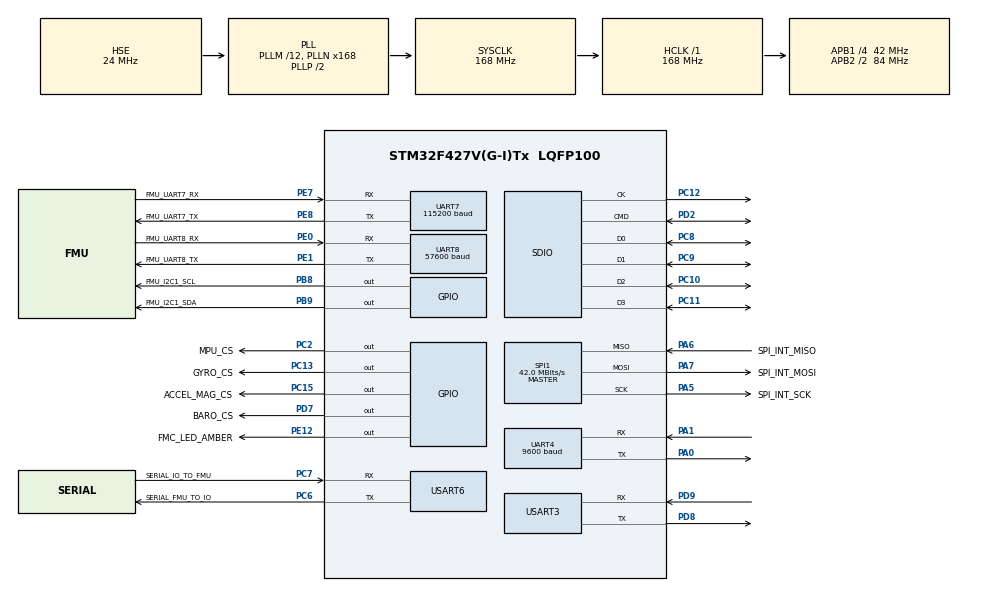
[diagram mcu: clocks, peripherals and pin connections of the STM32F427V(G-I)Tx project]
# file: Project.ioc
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Dma.Request0=UART4_RX
Dma.Request1=UART8_RX
Dma.Request2=UART7_RX
Dma.Request3=USART6_TX
Dma.Request4=USART6_RX
Dma.Request5=SDIO_RX
Dma.Request6=SDIO_TX
Dma.Request7=USART3_RX
Dma.SDIO_RX.5.Direction=DMA_PERIPH_TO_MEMORY
Dma.SDIO_RX.5.FIFOMode=DMA_FIFOMODE_ENABLE
Dma.SDIO_RX.5.FIFOThreshold=DMA_FIFO_THRESHOLD_FULL
Dma.SDIO_RX.5.Instance=DMA2_Stream6
Dma.SDIO_RX.5.MemBurst=DMA_MBURST_INC4
Dma.SDIO_RX.5.MemDataAlignment=DMA_MDATAALIGN_WORD
Dma.SDIO_RX.5.MemInc=DMA_MINC_ENABLE
Dma.SDIO_RX.5.Mode=DMA_PFCTRL
Dma.SDIO_RX.5.PeriphBurst=DMA_PBURST_INC4
Dma.SDIO_RX.5.PeriphDataAlignment=DMA_PDATAALIGN_WORD
Dma.SDIO_RX.5.PeriphInc=DMA_PINC_DISABLE
Dma.SDIO_RX.5.Priority=DMA_PRIORITY_LOW
Dma.SDIO_TX.6.Direction=DMA_MEMORY_TO_PERIPH
Dma.SDIO_TX.6.FIFOMode=DMA_FIFOMODE_ENABLE
Dma.SDIO_TX.6.FIFOThreshold=DMA_FIFO_THRESHOLD_FULL
Dma.SDIO_TX.6.Instance=DMA2_Stream3
Dma.SDIO_TX.6.MemBurst=DMA_MBURST_INC4
Dma.SDIO_TX.6.MemDataAlignment=DMA_MDATAALIGN_WORD
Dma.SDIO_TX.6.MemInc=DMA_MINC_ENABLE
Dma.SDIO_TX.6.Mode=DMA_PFCTRL
Dma.SDIO_TX.6.PeriphBurst=DMA_PBURST_INC4
Dma.SDIO_TX.6.PeriphDataAlignment=DMA_PDATAALIGN_WORD
Dma.SDIO_TX.6.PeriphInc=DMA_PINC_DISABLE
Dma.SDIO_TX.6.Priority=DMA_PRIORITY_LOW
Dma.UART4_RX.0.Direction=DMA_PERIPH_TO_MEMORY
Dma.UART4_RX.0.FIFOMode=DMA_FIFOMODE_DISABLE
Dma.UART4_RX.0.Instance=DMA1_Stream2
Dma.UART4_RX.0.MemDataAlignment=DMA_MDATAALIGN_BYTE
Dma.UART4_RX.0.MemInc=DMA_MINC_ENABLE
Dma.UART4_RX.0.Mode=DMA_CIRCULAR
Dma.UART4_RX.0.PeriphDataAlignment=DMA_PDATAALIGN_BYTE
Dma.UART4_RX.0.PeriphInc=DMA_PINC_DISABLE
Dma.UART4_RX.0.Priority=DMA_PRIORITY_MEDIUM
Dma.UART7_RX.2.Direction=DMA_PERIPH_TO_MEMORY
Dma.UART7_RX.2.FIFOMode=DMA_FIFOMODE_DISABLE
Dma.UART7_RX.2.Instance=DMA1_Stream3
Dma.UART7_RX.2.MemDataAlignment=DMA_MDATAALIGN_BYTE
Dma.UART7_RX.2.MemInc=DMA_MINC_ENABLE
Dma.UART7_RX.2.Mode=DMA_CIRCULAR
Dma.UART7_RX.2.PeriphDataAlignment=DMA_PDATAALIGN_BYTE
Dma.UART7_RX.2.PeriphInc=DMA_PINC_DISABLE
Dma.UART7_RX.2.Priority=DMA_PRIORITY_LOW
Dma.UART8_RX.1.Direction=DMA_PERIPH_TO_MEMORY
Dma.UART8_RX.1.FIFOMode=DMA_FIFOMODE_DISABLE
Dma.UART8_RX.1.Instance=DMA1_Stream6
Dma.UART8_RX.1.MemDataAlignment=DMA_MDATAALIGN_BYTE
Dma.UART8_RX.1.MemInc=DMA_MINC_ENABLE
Dma.UART8_RX.1.Mode=DMA_CIRCULAR
Dma.UART8_RX.1.PeriphDataAlignment=DMA_PDATAALIGN_BYTE
Dma.UART8_RX.1.PeriphInc=DMA_PINC_DISABLE
Dma.UART8_RX.1.Priority=DMA_PRIORITY_LOW
Dma.USART3_RX.7.Direction=DMA_PERIPH_TO_MEMORY
Dma.USART3_RX.7.FIFOMode=DMA_FIFOMODE_DISABLE
Dma.USART3_RX.7.Instance=DMA1_Stream1
Dma.USART3_RX.7.MemDataAlignment=DMA_MDATAALIGN_BYTE
Dma.USART3_RX.7.MemInc=DMA_MINC_ENABLE
Dma.USART3_RX.7.Mode=DMA_CIRCULAR
Dma.USART3_RX.7.PeriphDataAlignment=DMA_PDATAALIGN_BYTE
Dma.USART3_RX.7.PeriphInc=DMA_PINC_DISABLE
Dma.USART3_RX.7.Priority=DMA_PRIORITY_LOW
Dma.USART6_RX.4.Direction=DMA_PERIPH_TO_MEMORY
Dma.USART6_RX.4.FIFOMode=DMA_FIFOMODE_DISABLE
Dma.USART6_RX.4.Instance=DMA2_Stream1
Dma.USART6_RX.4.MemDataAlignment=DMA_MDATAALIGN_BYTE
Dma.USART6_RX.4.MemInc=DMA_MINC_ENABLE
Dma.USART6_RX.4.Mode=DMA_CIRCULAR
Dma.USART6_RX.4.PeriphDataAlignment=DMA_PDATAALIGN_BYTE
Dma.USART6_RX.4.PeriphInc=DMA_PINC_DISABLE
Dma.USART6_RX.4.Priority=DMA_PRIORITY_VERY_HIGH
Dma.USART6_TX.3.Direction=DMA_MEMORY_TO_PERIPH
Dma.USART6_TX.3.FIFOMode=DMA_FIFOMODE_DISABLE
Dma.USART6_TX.3.Instance=DMA2_Stream7
Dma.USART6_TX.3.MemDataAlignment=DMA_MDATAALIGN_BYTE
Dma.USART6_TX.3.MemInc=DMA_MINC_ENABLE
Dma.USART6_TX.3.Mode=DMA_NORMAL
Dma.USART6_TX.3.PeriphDataAlignment=DMA_PDATAALIGN_BYTE
Dma.USART6_TX.3.PeriphInc=DMA_PINC_DISABLE
Dma.USART6_TX.3.Priority=DMA_PRIORITY_VERY_HIGH
FATFS._CODE_PAGE=850
Mcu.Family=STM32F4
Mcu.Name=STM32F427V(G-I)Tx
Mcu.Package=LQFP100
NVIC.DMA1_Stream1_IRQn=true\:0\:0\:false\:true\:true\:1\:false\:true
NVIC.DMA1_Stream2_IRQn=true\:0\:0\:false\:true\:true\:2\:false\:true
NVIC.DMA1_Stream3_IRQn=true\:0\:0\:false\:true\:true\:3\:false\:true
NVIC.DMA1_Stream6_IRQn=true\:0\:0\:false\:true\:true\:4\:false\:true
NVIC.DMA2_Stream1_IRQn=true\:0\:0\:false\:true\:true\:9\:false\:true
NVIC.DMA2_Stream3_IRQn=true\:2\:0\:true\:true\:true\:10\:false\:true
NVIC.DMA2_Stream6_IRQn=true\:2\:1\:true\:true\:true\:11\:false\:true
NVIC.DMA2_Stream7_IRQn=true\:0\:0\:false\:true\:true\:12\:false\:true
NVIC.FPU_IRQn=true\:0\:0\:false\:true\:true\:14\:true\:false
NVIC.PriorityGroup=NVIC_PRIORITYGROUP_2
NVIC.SDIO_IRQn=true\:2\:3\:true\:true\:true\:6\:true\:true
NVIC.TIM6_DAC_IRQn=true\:2\:1\:true\:true\:true\:8\:true\:true
NVIC.UART4_IRQn=true\:2\:3\:true\:true\:true\:7\:true\:true
NVIC.UART7_IRQn=true\:3\:3\:true\:true\:true\:15\:true\:true
NVIC.UART8_IRQn=true\:1\:2\:true\:true\:true\:16\:true\:true
NVIC.USART3_IRQn=true\:1\:1\:true\:true\:true\:5\:true\:true
NVIC.USART6_IRQn=true\:0\:0\:false\:true\:true\:13\:true\:true
PA0/WKUP.GPIO_Mode=GPIO_MODE_AF_PP
PA0/WKUP.GPIO_PuPd=GPIO_PULLUP
PA0/WKUP.GPIO_Speed=GPIO_SPEED_FREQ_VERY_HIGH
PA0/WKUP.Mode=Asynchronous
PA0/WKUP.Signal=UART4_TX
PA1.GPIO_Mode=GPIO_MODE_AF_PP
PA1.GPIO_PuPd=GPIO_PULLUP
PA1.GPIO_Speed=GPIO_SPEED_FREQ_VERY_HIGH
PA1.Mode=Asynchronous
PA1.Signal=UART4_RX
PA13.Mode=Trace_Asynchronous_SW
PA13.Signal=SYS_JTMS-SWDIO
PA14.Mode=Trace_Asynchronous_SW
PA14.Signal=SYS_JTCK-SWCLK
PA5.GPIO_Label=SPI_INT_SCK
PA5.GPIO_Mode=GPIO_MODE_AF_PP
PA5.GPIO_PuPd=GPIO_NOPULL
PA5.GPIO_Speed=GPIO_SPEED_FREQ_VERY_HIGH
PA5.Mode=Full_Duplex_Master
PA5.Signal=SPI1_SCK
PA6.GPIO_Label=SPI_INT_MISO
PA6.GPIO_Mode=GPIO_MODE_AF_PP
PA6.GPIO_PuPd=GPIO_NOPULL
PA6.GPIO_Speed=GPIO_SPEED_FREQ_VERY_HIGH
PA6.Mode=Full_Duplex_Master
PA6.Signal=SPI1_MISO
PA7.GPIO_Label=SPI_INT_MOSI
PA7.GPIO_Mode=GPIO_MODE_AF_PP
PA7.GPIO_PuPd=GPIO_NOPULL
PA7.GPIO_Speed=GPIO_SPEED_FREQ_VERY_HIGH
PA7.Mode=Full_Duplex_Master
PA7.Signal=SPI1_MOSI
PB3.Mode=Trace_Asynchronous_SW
PB3.Signal=SYS_JTDO-SWO
PB8.GPIO_Label=FMU_I2C1_SCL
PB8.GPIO_ModeDefaultOutputPP=GPIO_MODE_OUTPUT_PP
PB8.GPIO_PuPd=GPIO_NOPULL
PB8.GPIO_Speed=GPIO_SPEED_FREQ_LOW
PB8.PinState=GPIO_PIN_SET
PB8.Signal=GPIO_Output
PB9.GPIO_Label=FMU_I2C1_SDA
PB9.GPIO_ModeDefaultOutputPP=GPIO_MODE_OUTPUT_PP
PB9.GPIO_PuPd=GPIO_NOPULL
PB9.GPIO_Speed=GPIO_SPEED_FREQ_LOW
PB9.PinState=GPIO_PIN_SET
PB9.Signal=GPIO_Output
PC10.Mode=SD_4_bits_Wide_bus
PC10.Signal=SDIO_D2
PC11.Mode=SD_4_bits_Wide_bus
PC11.Signal=SDIO_D3
PC12.Mode=SD_4_bits_Wide_bus
PC12.Signal=SDIO_CK
PC13.GPIO_Label=GYRO_CS
PC13.GPIO_ModeDefaultOutputPP=GPIO_MODE_OUTPUT_PP
PC13.GPIO_PuPd=GPIO_NOPULL
PC13.GPIO_Speed=GPIO_SPEED_FREQ_LOW
PC13.PinState=GPIO_PIN_SET
PC13.Signal=GPIO_Output
PC15/OSC32_OUT.GPIO_Label=ACCEL_MAG_CS
PC15/OSC32_OUT.GPIO_ModeDefaultOutputPP=GPIO_MODE_OUTPUT_PP
PC15/OSC32_OUT.GPIO_PuPd=GPIO_NOPULL
PC15/OSC32_OUT.GPIO_Speed=GPIO_SPEED_FREQ_LOW
PC15/OSC32_OUT.PinState=GPIO_PIN_SET
PC15/OSC32_OUT.Signal=GPIO_Output
PC2.GPIO_Label=MPU_CS
PC2.GPIO_ModeDefaultOutputPP=GPIO_MODE_OUTPUT_PP
PC2.GPIO_PuPd=GPIO_NOPULL
PC2.GPIO_Speed=GPIO_SPEED_FREQ_LOW
PC2.PinState=GPIO_PIN_SET
PC2.Signal=GPIO_Output
PC6.GPIO_Label=SERIAL_FMU_TO_IO
PC6.Mode=Asynchronous
PC6.Signal=USART6_TX
PC7.GPIO_Label=SERIAL_IO_TO_FMU
PC7.Mode=Asynchronous
PC7.Signal=USART6_RX
PC8.Mode=SD_4_bits_Wide_bus
PC8.Signal=SDIO_D0
PC9.Mode=SD_4_bits_Wide_bus
PC9.Signal=SDIO_D1
PD2.Mode=SD_4_bits_Wide_bus
PD2.Signal=SDIO_CMD
PD7.GPIO_Label=BARO_CS
PD7.GPIO_ModeDefaultOutputPP=GPIO_MODE_OUTPUT_PP
PD7.GPIO_PuPd=GPIO_NOPULL
PD7.GPIO_Speed=GPIO_SPEED_FREQ_LOW
PD7.PinState=GPIO_PIN_SET
PD7.Signal=GPIO_Output
PD8.Mode=Asynchronous
PD8.Signal=USART3_TX
PD9.Mode=Asynchronous
PD9.Signal=USART3_RX
PE0.GPIO_Label=FMU_UART8_RX
PE0.GPIO_Mode=GPIO_MODE_AF_PP
PE0.GPIO_PuPd=GPIO_PULLUP
PE0.GPIO_Speed=GPIO_SPEED_FREQ_VERY_HIGH
PE0.Mode=Asynchronous
PE0.Signal=UART8_RX
PE1.GPIO_Label=FMU_UART8_TX
PE1.GPIO_Mode=GPIO_MODE_AF_PP
PE1.GPIO_PuPd=GPIO_PULLUP
PE1.GPIO_Speed=GPIO_SPEED_FREQ_VERY_HIGH
PE1.Mode=Asynchronous
PE1.Signal=UART8_TX
PE12.GPIO_Label=FMC_LED_AMBER
PE12.GPIO_ModeDefaultOutputPP=GPIO_MODE_OUTPUT_PP
PE12.GPIO_PuPd=GPIO_NOPULL
PE12.GPIO_Speed=GPIO_SPEED_FREQ_LOW
PE12.PinState=GPIO_PIN_SET
PE12.Signal=GPIO_Output
PE7.GPIO_Label=FMU_UART7_RX
PE7.GPIO_Mode=GPIO_MODE_AF_PP
PE7.GPIO_PuPd=GPIO_PULLUP
PE7.GPIO_Speed=GPIO_SPEED_FREQ_VERY_HIGH
PE7.Mode=Asynchronous
PE7.Signal=UART7_RX
PE8.GPIO_Label=FMU_UART7_TX
PE8.GPIO_Mode=GPIO_MODE_AF_PP
PE8.GPIO_PuPd=GPIO_PULLUP
PE8.GPIO_Speed=GPIO_SPEED_FREQ_VERY_HIGH
PE8.Mode=Asynchronous
PE8.Signal=UART7_TX
PH0/OSC_IN.Mode=HSE-External-Oscillator
PH0/OSC_IN.Signal=RCC_OSC_IN
PH1/OSC_OUT.Mode=HSE-External-Oscillator
PH1/OSC_OUT.Signal=RCC_OSC_OUT
ProjectManager.HeapSize=0x200
ProjectManager.StackSize=0x400
ProjectManager.TargetToolchain=MDK-ARM V5
RCC.48MHZClocksFreq_Value=48000000
RCC.AHBFreq_Value=168000000
RCC.APB1CLKDivider=RCC_HCLK_DIV4
RCC.APB1Freq_Value=42000000
RCC.APB1TimFreq_Value=84000000
RCC.APB2CLKDivider=RCC_HCLK_DIV2
RCC.APB2Freq_Value=84000000
RCC.APB2TimFreq_Value=168000000
RCC.CortexFreq_Value=168000000
RCC.HCLKFreq_Value=168000000
RCC.HSE_VALUE=24000000
RCC.HSI_VALUE=16000000
RCC.LSE_VALUE=32768
RCC.PLLM=12
RCC.PLLN=168
RCC.PLLQ=7
RCC.PLLSourceVirtual=RCC_PLLSOURCE_HSE
RCC.SYSCLKFreq_VALUE=168000000
RCC.SYSCLKSource=RCC_SYSCLKSOURCE_PLLCLK
RCC.VCOOutputFreq_Value=336000000
SPI1.CLKPhase=SPI_PHASE_2EDGE
SPI1.CLKPolarity=SPI_POLARITY_HIGH
SPI1.CalculateBaudRate=42.0 MBits/s
SPI1.Direction=SPI_DIRECTION_2LINES
SPI1.Mode=SPI_MODE_MASTER
SPI1.VirtualType=VM_MASTER
TIM6.Period=1999
TIM6.Prescaler=83
UART4.BaudRate=9600
UART4.VirtualMode=Asynchronous
UART7.BaudRate=115200
UART7.VirtualMode=Asynchronous
UART8.BaudRate=57600
UART8.VirtualMode=Asynchronous
USART3.VirtualMode=VM_ASYNC
USART6.VirtualMode=VM_ASYNC
VP_FATFS_VS_SDIO.Mode=SDIO
VP_TIM6_VS_ClockSourceINT.Mode=Enable_Timer
board=Project

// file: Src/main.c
/* USER CODE BEGIN Header */
/**
  ******************************************************************************
  * @file           : main.c
  * @brief          : Main program body
  ******************************************************************************
  * @attention
  *
  * <h2><center>&copy; Copyright (c) 2019 STMicroelectronics.
  * All rights reserved.</center></h2>
  *
  * This software component is licensed by ST under BSD 3-Clause license,
  * the "License"; You may not use this file except in compliance with the
  * License. You may obtain a copy of the License at:
  *                        opensource.org/licenses/BSD-3-Clause
  *
  ******************************************************************************
  */
/* USER CODE END Header */

#include "main.h"
#include "dma.h"
#include "fatfs.h"
#include "sdio.h"
#include "spi.h"
#include "tim.h"
#include "usart.h"
#include "gpio.h"

/* USER CODE BEGIN Includes */
#include "md_include.h"
#include "mavlink.h"
#include "sdlog.h"
#include "example.h"
#include "JY901.h"
#include "sensor.h"
#include "control.h"
/* USER CODE END Includes */

/* USER CODE BEGIN PV */
/* Private variables ---------------------------------------------------------*/
__IO ITStatus Timer6UpdateReady = RESET;
__IO uint32_t Timer6_50HzCount = 0;
__IO ITStatus Timer6_50HzUpdateReady = RESET;

/* USER CODE END PV */

void SystemClock_Config(void);
static void MX_NVIC_Init(void);
/* USER CODE BEGIN PFP */
/* Private function prototypes -----------------------------------------------*/

/* USER CODE END PFP */

/* USER CODE BEGIN 0 */
/*修改处：因为编译选项中加入--gnu，而编译环境是CC_ARM，所以必须保证优先是CC_ARM选型编译*/
#if defined ( __CC_ARM )
#define PUTCHAR_PROTOTYPE int fputc(int ch, FILE *f)
#elif defined (__GNUC__)
#define PUTCHAR_PROTOTYPE int __io_putchar(int ch)
#else
#define PUTCHAR_PROTOTYPE int fputc(int ch, FILE *f)
#endif

/* USER CODE END 0 */

int main(void)
{

  /* MCU Configuration--------------------------------------------------------*/

  /* Reset of all peripherals, Initializes the Flash interface and the Systick. */
  HAL_Init();

  /* Configure the system clock */
  SystemClock_Config();

  /* Initialize all configured peripherals */
  MX_GPIO_Init();
  MX_UART7_Init();
  MX_SPI1_Init();
  MX_TIM6_Init();
  MX_UART4_Init();
  MX_DMA_Init();
  MX_UART8_Init();
  MX_USART6_UART_Init();
  MX_SDIO_SD_Init();
  MX_FATFS_Init();
  MX_USART3_UART_Init();

  /* Initialize interrupts */
  MX_NVIC_Init();
  /* USER CODE BEGIN 2 */
	HAL_Delay(2000);
	GPS_Init();
//	MPU6000_Init();
//	Baro_Init();
	HMC5883_Init();
	Mavlink_Init();
	HAL_TIM_Base_Start_IT(&htim6);
	Com_TwoBoard_Init();
	JY901_Init();
	turn_pid_init();
	HAL_Delay(100);

//	Get_Gyro_Offset();
  /* USER CODE END 2 */

  /* Infinite loop */
  /* USER CODE BEGIN WHILE */
  while (1)
  {
		//定时器中断500HZ执行一次
		if(Timer6UpdateReady==SET)
		{
			Timer6UpdateReady=RESET;
			Loop_Led_Flick();
			mavlink_test();
			JY901_Receive();
			Loop_Read_Mag();
			heading_control();
		}

			Loop_Mavlink_Parse();
			Example_Exchage_COM();
		  Loop_GPS_Parse();				//GPS循环函数

    /* USER CODE END WHILE */

  }
}

void SystemClock_Config(void)
{
  RCC_OscInitTypeDef RCC_OscInitStruct = {0};
  RCC_ClkInitTypeDef RCC_ClkInitStruct = {0};

  /** Configure the main internal regulator output voltage
  */
  __HAL_RCC_PWR_CLK_ENABLE();
  __HAL_PWR_VOLTAGESCALING_CONFIG(PWR_REGULATOR_VOLTAGE_SCALE1);
  /** Initializes the CPU, AHB and APB busses clocks
  */
  RCC_OscInitStruct.OscillatorType = RCC_OSCILLATORTYPE_HSE;
  RCC_OscInitStruct.HSEState = RCC_HSE_ON;
  RCC_OscInitStruct.PLL.PLLState = RCC_PLL_ON;
  RCC_OscInitStruct.PLL.PLLSource = RCC_PLLSOURCE_HSE;
  RCC_OscInitStruct.PLL.PLLM = 12;
  RCC_OscInitStruct.PLL.PLLN = 168;
  RCC_OscInitStruct.PLL.PLLP = RCC_PLLP_DIV2;
  RCC_OscInitStruct.PLL.PLLQ = 7;
  if (HAL_RCC_OscConfig(&RCC_OscInitStruct) != HAL_OK)
  {
    Error_Handler();
  }
  /** Initializes the CPU, AHB and APB busses clocks
  */
  RCC_ClkInitStruct.ClockType = RCC_CLOCKTYPE_HCLK|RCC_CLOCKTYPE_SYSCLK
                              |RCC_CLOCKTYPE_PCLK1|RCC_CLOCKTYPE_PCLK2;
  RCC_ClkInitStruct.SYSCLKSource = RCC_SYSCLKSOURCE_PLLCLK;
  RCC_ClkInitStruct.AHBCLKDivider = RCC_SYSCLK_DIV1;
  RCC_ClkInitStruct.APB1CLKDivider = RCC_HCLK_DIV4;
  RCC_ClkInitStruct.APB2CLKDivider = RCC_HCLK_DIV2;

  if (HAL_RCC_ClockConfig(&RCC_ClkInitStruct, FLASH_LATENCY_5) != HAL_OK)
  {
    Error_Handler();
  }
}

/**
  * @brief NVIC Configuration.
  * @retval None
  */
static void MX_NVIC_Init(void)
{
  /* DMA1_Stream1_IRQn interrupt configuration */
  HAL_NVIC_SetPriority(DMA1_Stream1_IRQn, 0, 0);
  HAL_NVIC_EnableIRQ(DMA1_Stream1_IRQn);
  /* DMA1_Stream2_IRQn interrupt configuration */
  HAL_NVIC_SetPriority(DMA1_Stream2_IRQn, 0, 0);
  HAL_NVIC_EnableIRQ(DMA1_Stream2_IRQn);
  /* DMA1_Stream3_IRQn interrupt configuration */
  HAL_NVIC_SetPriority(DMA1_Stream3_IRQn, 0, 0);
  HAL_NVIC_EnableIRQ(DMA1_Stream3_IRQn);
  /* DMA1_Stream6_IRQn interrupt configuration */
  HAL_NVIC_SetPriority(DMA1_Stream6_IRQn, 0, 0);
  HAL_NVIC_EnableIRQ(DMA1_Stream6_IRQn);
  /* USART3_IRQn interrupt configuration */
  HAL_NVIC_SetPriority(USART3_IRQn, 1, 1);
  HAL_NVIC_EnableIRQ(USART3_IRQn);
  /* SDIO_IRQn interrupt configuration */
  HAL_NVIC_SetPriority(SDIO_IRQn, 2, 3);
  HAL_NVIC_EnableIRQ(SDIO_IRQn);
  /* UART4_IRQn interrupt configuration */
  HAL_NVIC_SetPriority(UART4_IRQn, 2, 3);
  HAL_NVIC_EnableIRQ(UART4_IRQn);
  /* TIM6_DAC_IRQn interrupt configuration */
  HAL_NVIC_SetPriority(TIM6_DAC_IRQn, 2, 1);
  HAL_NVIC_EnableIRQ(TIM6_DAC_IRQn);
  /* DMA2_Stream1_IRQn interrupt configuration */
  HAL_NVIC_SetPriority(DMA2_Stream1_IRQn, 0, 0);
  HAL_NVIC_EnableIRQ(DMA2_Stream1_IRQn);
  /* DMA2_Stream3_IRQn interrupt configuration */
  HAL_NVIC_SetPriority(DMA2_Stream3_IRQn, 2, 0);
  HAL_NVIC_EnableIRQ(DMA2_Stream3_IRQn);
  /* DMA2_Stream6_IRQn interrupt configuration */
  HAL_NVIC_SetPriority(DMA2_Stream6_IRQn, 2, 1);
  HAL_NVIC_EnableIRQ(DMA2_Stream6_IRQn);
  /* DMA2_Stream7_IRQn interrupt configuration */
  HAL_NVIC_SetPriority(DMA2_Stream7_IRQn, 0, 0);
  HAL_NVIC_EnableIRQ(DMA2_Stream7_IRQn);
  /* USART6_IRQn interrupt configuration */
  HAL_NVIC_SetPriority(USART6_IRQn, 0, 0);
  HAL_NVIC_EnableIRQ(USART6_IRQn);
  /* FPU_IRQn interrupt configuration */
  HAL_NVIC_SetPriority(FPU_IRQn, 0, 0);
  HAL_NVIC_EnableIRQ(FPU_IRQn);
  /* UART7_IRQn interrupt configuration */
  HAL_NVIC_SetPriority(UART7_IRQn, 3, 3);
  HAL_NVIC_EnableIRQ(UART7_IRQn);
  /* UART8_IRQn interrupt configuration */
  HAL_NVIC_SetPriority(UART8_IRQn, 1, 2);
  HAL_NVIC_EnableIRQ(UART8_IRQn);
}

/* USER CODE BEGIN 4 */
PUTCHAR_PROTOTYPE
{
	/* Place your implementation of fputc here ??*/
	/* e.g. write a character to the EVAL_COM1 and Loop until the end of transmission */
	HAL_UART_Transmit(&huart7, (uint8_t *)&ch, 1, 0xFFFF);
	return ch;
}

/**************************函数声明*******************************
*函数名称：HAL_TIM_PeriodElapsedCallback(TIM_HandleTypeDef *htim)
*输入参数：
*返回参数：
*功    能：定时器中断回调函数
*作    者：
*日    期：2019/11/11
******************************************************************/
void HAL_TIM_PeriodElapsedCallback(TIM_HandleTypeDef *htim)
{
	if(htim->Instance ==TIM6)
	{
		Timer6UpdateReady=SET;
		Timer6_50HzCount++;
		if(Timer6_50HzCount %10 == 0)
		{
		  Timer6_50HzUpdateReady = SET;
		}
	}

}

/**************************函数声明*******************************
*函数名称：HAL_UART_RxCpltCallback(UART_HandleTypeDef *UartHandle)
*输入参数：
*返回参数：
*功    能：串口发送中断回调函数
*作    者：
*日    期：2019/11/19
*******************************************************************/
void HAL_UART_TxCpltCallback(UART_HandleTypeDef *UartHandle)
{
if(UartHandle->Instance == USART6)
	{
	  Com_TwoBoard_TX_InterruptHandler();
	}
}

/**************************函数声明*******************************
*函数名称：HAL_UART_RxCpltCallback(UART_HandleTypeDef *UartHandle)
*输入参数：
*返回参数：
*功    能：串口接收中断回调函数
*作    者：
*日    期：2019/11/12
******************************************************************/
void HAL_UART_RxCpltCallback(UART_HandleTypeDef *UartHandle)
{
	/* Set transmission flag: trasfer complete*/
	if(UartHandle->Instance == UART4)
	{
		GPS_RX_InterruptHandler();
	}

	if(UartHandle->Instance == UART8)
	{
		Mavlin_RX_InterruptHandler();
	}

	if(UartHandle->Instance == USART6)
	{
		Com_TwoBoard_RX_InterruptHandler();
	}

	if(UartHandle->Instance == USART3)
	{
		JY901_InterruptHandler();
	}

}
/* USER CODE END 4 */

void Error_Handler(void)
{
  while(1)
  {
  }
}

/************************ (C) COPYRIGHT STMicroelectronics *****END OF FILE****/
